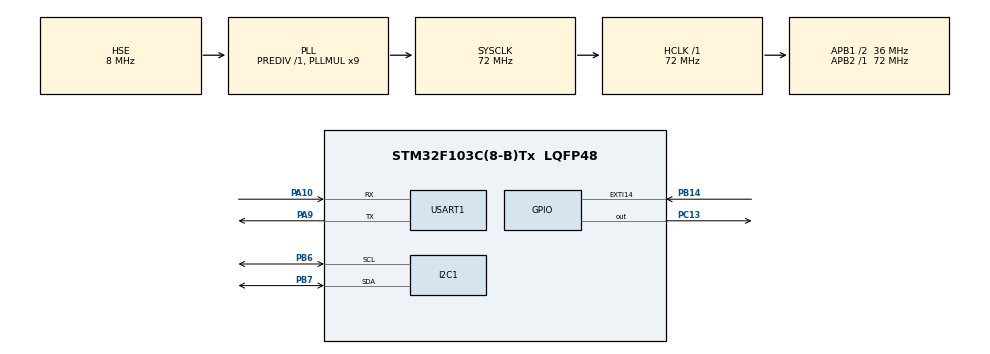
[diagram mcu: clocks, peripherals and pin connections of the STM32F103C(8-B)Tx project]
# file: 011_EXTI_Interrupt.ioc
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Mcu.Family=STM32F1
Mcu.Name=STM32F103C(8-B)Tx
Mcu.Package=LQFP48
NVIC.EXTI15_10_IRQn=true\:0\:0\:true\:true\:true\:1\:true\:true\:true
NVIC.PriorityGroup=NVIC_PRIORITYGROUP_4
PA10.Mode=Asynchronous
PA10.Signal=USART1_RX
PA13.Mode=Serial_Wire
PA13.Signal=SYS_JTMS-SWDIO
PA14.Mode=Serial_Wire
PA14.Signal=SYS_JTCK-SWCLK
PA9.Mode=Asynchronous
PA9.Signal=USART1_TX
PB14.GPIO_ModeDefaultEXTI=GPIO_MODE_IT_RISING_FALLING
PB14.Signal=GPXTI14
PB6.Mode=I2C
PB6.Signal=I2C1_SCL
PB7.Mode=I2C
PB7.Signal=I2C1_SDA
PC13-TAMPER-RTC.Signal=GPIO_Output
PD0-OSC_IN.Mode=HSE-External-Oscillator
PD0-OSC_IN.Signal=RCC_OSC_IN
PD1-OSC_OUT.Mode=HSE-External-Oscillator
PD1-OSC_OUT.Signal=RCC_OSC_OUT
ProjectManager.HeapSize=0x200
ProjectManager.StackSize=0x400
ProjectManager.TargetToolchain=MDK-ARM V5.32
RCC.AHBFreq_Value=72000000
RCC.APB1CLKDivider=RCC_HCLK_DIV2
RCC.APB1Freq_Value=36000000
RCC.APB1TimFreq_Value=72000000
RCC.APB2Freq_Value=72000000
RCC.APB2TimFreq_Value=72000000
RCC.HCLKFreq_Value=72000000
RCC.PLLMUL=RCC_PLL_MUL9
RCC.PLLSourceVirtual=RCC_PLLSOURCE_HSE
RCC.SYSCLKFreq_VALUE=72000000
RCC.SYSCLKSource=RCC_SYSCLKSOURCE_PLLCLK
RCC.USBFreq_Value=72000000
USART1.VirtualMode=VM_ASYNC
board=custom

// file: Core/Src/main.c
/* USER CODE BEGIN Header */
/**
  ******************************************************************************
  * @file           : main.c
  * @brief          : Main program body
  ******************************************************************************
  * @attention
  *
  * Copyright (c) 2026 STMicroelectronics.
  * All rights reserved.
  *
  * This software is licensed under terms that can be found in the LICENSE file
  * in the root directory of this software component.
  * If no LICENSE file comes with this software, it is provided AS-IS.
  *
  ******************************************************************************
  */
/* USER CODE END Header */
#include "main.h"
#include "i2c.h"
#include "usart.h"
#include "gpio.h"

/* USER CODE BEGIN Includes */
#include "driver_oled.h"
#include "circle_buffer.h"
#include "string.h"
/* USER CODE END Includes */

/* USER CODE BEGIN PTD */
struct soft_timer{
	uint32_t timeout;
	void * args;
	void (*func)(void *);
};
/* USER CODE END PTD */

/* USER CODE BEGIN PV */
extern UART_HandleTypeDef huart1;
char *str1="www.qq.com\r\n";
char *str2="hxm-sb\r\n";
char c;
int key_cnt=0;
void key_timeout_func(void *args);
struct soft_timer key_timer={~0,NULL,key_timeout_func};

static uint8_t g_data_buf[100];
static circle_buf g_key_bufs;

void key_timeout_func(void *args)
{
	uint8_t key_val;
	key_cnt++;
	key_timer.timeout=~0;

	if(HAL_GPIO_ReadPin(GPIOB,GPIO_PIN_14)==GPIO_PIN_RESET)
		key_val=0x1;
	else
		key_val=0x81;
	circle_buf_write(&g_key_bufs,key_val);
}

void mod_timer(struct soft_timer *pTimer,uint32_t timeout)
{
	pTimer->timeout=HAL_GetTick()+timeout;
}

void check_timer(void)
{
	if(key_timer.timeout<=HAL_GetTick())
	{
		key_timer.func(key_timer.args);
	}
}
void HAL_GPIO_EXTI_Callback(uint16_t GPIO_Pin)
{
	if(GPIO_Pin==GPIO_PIN_14)
	{

		mod_timer(&key_timer,20);
	}
}
/* USER CODE END PV */

void SystemClock_Config(void);
static void MX_NVIC_Init(void);

int main(void)
{

  /* USER CODE BEGIN 1 */
	int len1=0;
	int len2=0;
	uint8_t key_val=0;
  /* USER CODE END 1 */

  /* MCU Configuration--------------------------------------------------------*/

  /* Reset of all peripherals, Initializes the Flash interface and the Systick. */
  HAL_Init();

  /* Configure the system clock */
  SystemClock_Config();

  /* USER CODE BEGIN SysInit */
	OLED_Init();
	circle_buf_Init(&g_key_bufs,100,g_data_buf);
  /* USER CODE END SysInit */

  /* Initialize all configured peripherals */
  MX_GPIO_Init();
  MX_I2C1_Init();
  MX_USART1_UART_Init();

  /* Initialize interrupts */
  MX_NVIC_Init();
  /* USER CODE BEGIN 2 */

	OLED_Clear();
  /* USER CODE END 2 */

  /* Infinite loop */
  /* USER CODE BEGIN WHILE */
  len1=OLED_PrintString(0,0,"Key cnt : ");
  len2=OLED_PrintString(0,2,"Key val : ");
  HAL_GPIO_WritePin(GPIOC, GPIO_PIN_13, GPIO_PIN_SET);
	//HAL_UART_Transmit(&huart1,str2,strlen(str2),1000);
  while (1)
  {
	  HAL_UART_Transmit(&huart1,str2,strlen(str2),1000);
	  while(HAL_OK!=HAL_UART_Receive(&huart1,&c,1,100));
	  c=c+1;
	  HAL_UART_Transmit(&huart1,&c,1,1000);
	  HAL_UART_Transmit(&huart1,"\r\n",2,1000);

//	  OLED_PrintSignedVal(len1,0,key_cnt);
//	  if(0==circle_buf_read(&g_key_bufs,&key_val))
//	  {
//		OLED_ClearLine(len2,2);
//		OLED_PrintHex(len2,2,key_val,1);
//	  }
    /* USER CODE END WHILE */

  }
}

void SystemClock_Config(void)
{
  RCC_OscInitTypeDef RCC_OscInitStruct = {0};
  RCC_ClkInitTypeDef RCC_ClkInitStruct = {0};

  /** Initializes the RCC Oscillators according to the specified parameters
  * in the RCC_OscInitTypeDef structure.
  */
  RCC_OscInitStruct.OscillatorType = RCC_OSCILLATORTYPE_HSE;
  RCC_OscInitStruct.HSEState = RCC_HSE_ON;
  RCC_OscInitStruct.HSEPredivValue = RCC_HSE_PREDIV_DIV1;
  RCC_OscInitStruct.HSIState = RCC_HSI_ON;
  RCC_OscInitStruct.PLL.PLLState = RCC_PLL_ON;
  RCC_OscInitStruct.PLL.PLLSource = RCC_PLLSOURCE_HSE;
  RCC_OscInitStruct.PLL.PLLMUL = RCC_PLL_MUL9;
  if (HAL_RCC_OscConfig(&RCC_OscInitStruct) != HAL_OK)
  {
    Error_Handler();
  }

  /** Initializes the CPU, AHB and APB buses clocks
  */
  RCC_ClkInitStruct.ClockType = RCC_CLOCKTYPE_HCLK|RCC_CLOCKTYPE_SYSCLK
                              |RCC_CLOCKTYPE_PCLK1|RCC_CLOCKTYPE_PCLK2;
  RCC_ClkInitStruct.SYSCLKSource = RCC_SYSCLKSOURCE_PLLCLK;
  RCC_ClkInitStruct.AHBCLKDivider = RCC_SYSCLK_DIV1;
  RCC_ClkInitStruct.APB1CLKDivider = RCC_HCLK_DIV2;
  RCC_ClkInitStruct.APB2CLKDivider = RCC_HCLK_DIV1;

  if (HAL_RCC_ClockConfig(&RCC_ClkInitStruct, FLASH_LATENCY_2) != HAL_OK)
  {
    Error_Handler();
  }
}

/**
  * @brief NVIC Configuration.
  * @retval None
  */
static void MX_NVIC_Init(void)
{
  /* EXTI15_10_IRQn interrupt configuration */
  HAL_NVIC_SetPriority(EXTI15_10_IRQn, 0, 0);
  HAL_NVIC_EnableIRQ(EXTI15_10_IRQn);
}

void Error_Handler(void)
{
  __disable_irq();
  while (1)
  {
  }
}
